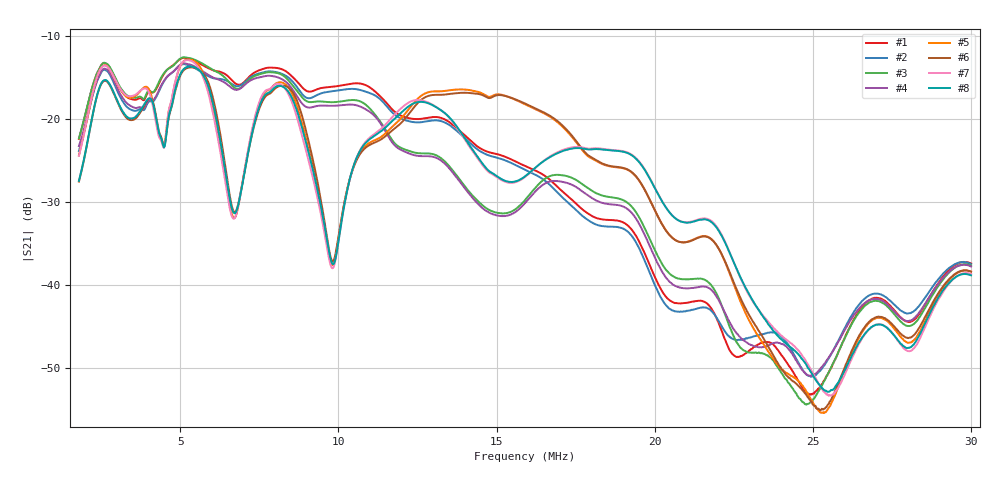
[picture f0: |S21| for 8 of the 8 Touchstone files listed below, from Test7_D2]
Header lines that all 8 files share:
!Agilent Technologies,E5061B,MY49101568,A.02.00
!Data & Calibration Information:
!Freq	S11:SOLT2(OFF)	S21:SOLT2(OFF)	S12:SOLT2(OFF)	S22:SOLT2(OFF)
# Hz S dB R 50
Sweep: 1.8 MHz to 30 MHz
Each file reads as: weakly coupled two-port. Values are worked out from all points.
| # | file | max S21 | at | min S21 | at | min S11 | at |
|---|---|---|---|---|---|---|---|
| 1 | CASE6.S2P | -12.59 dB | 5.123 MHz | -53.1 dB | 24.92 MHz | -36.8 dB | 16.71 MHz |
| 2 | CASE7.S2P | -13.35 dB | 5.123 MHz | -51.0 dB | 24.94 MHz | -36.7 dB | 16.71 MHz |
| 3 | CASE8.S2P | -12.52 dB | 5.123 MHz | -54.4 dB | 24.79 MHz | -38.1 dB | 12.89 MHz |
| 4 | CASE9.S2P | -13.26 dB | 5.123 MHz | -50.9 dB | 24.89 MHz | -37.1 dB | 12.89 MHz |
| 5 | CASE16.S2P | -12.79 dB | 5.246 MHz | -55.4 dB | 25.36 MHz | -46.5 dB | 14.97 MHz |
| 6 | CASE17.S2P | -13.75 dB | 5.343 MHz | -55.1 dB | 25.23 MHz | -45.0 dB | 14.85 MHz |
| 7 | CASE18.S2P | -12.87 dB | 5.221 MHz | -53.3 dB | 25.5 MHz | -27.8 dB | 28.41 MHz |
| 8 | CASE19.S2P | -13.64 dB | 5.319 MHz | -52.8 dB | 25.5 MHz | -28.6 dB | 5.221 MHz |
